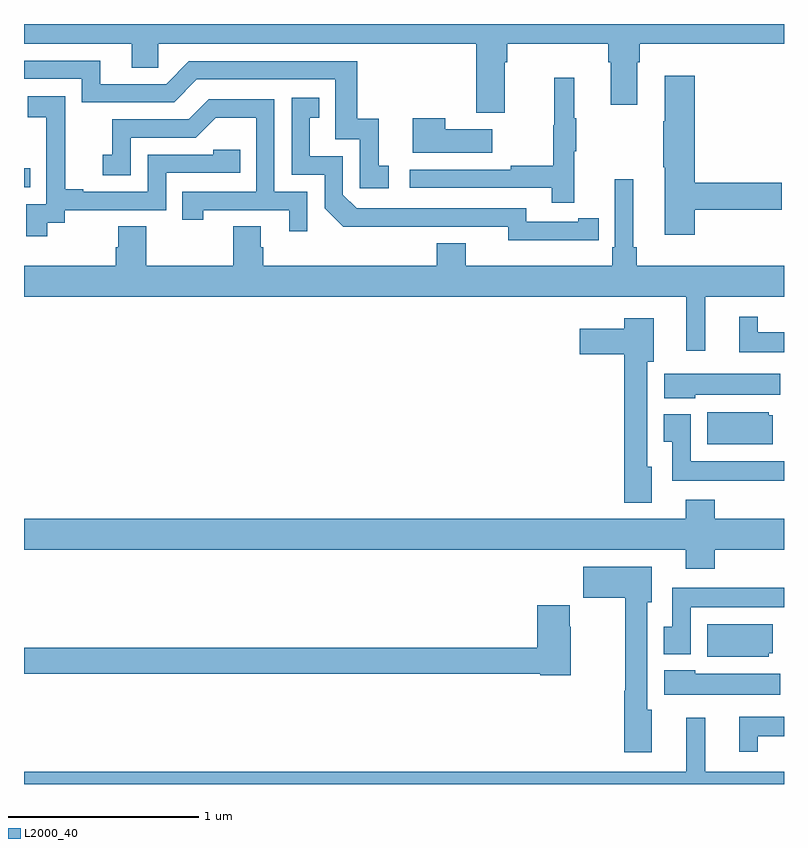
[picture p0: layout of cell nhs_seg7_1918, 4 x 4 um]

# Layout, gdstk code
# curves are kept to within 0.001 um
import gdstk
lib = gdstk.Library(unit=1e-6, precision=1e-09)
def R(c, l, rs):  # rectangles x0, y0, x1, y1
    for r in rs: c.add(gdstk.rectangle(r[:2], r[2:], *l))
def P(c, l, *ps):  # polygons
    for p in ps: c.add(gdstk.Polygon(p, *l))
L2000_40 = (2000, 40)

nhs_seg7_1918 = lib.new_cell('nhs_seg7_1918')
R(nhs_seg7_1918, L2000_40, [(239,1053.141,239.033,1053.242)])
P(nhs_seg7_1918, L2000_40, [(239,1053.896),(239.567,1053.896),(239.567,1053.769),(239.706,1053.769),(239.706,1053.896),(241.379,1053.896),(241.379,1053.534),(241.531,1053.534),(241.531,1053.8),(241.544,1053.8),(241.544,1053.896),(242.075,1053.896),(242.075,1053.8),(242.087,1053.8),(242.087,1053.576),(242.227,1053.576),(242.227,1053.8),(242.24,1053.8),(242.24,1053.896),(243,1053.896),(243,1054),(239,1054)],
  [(240.919,1053.255),(240.866,1053.255),(240.866,1053.502),(240.755,1053.502),(240.755,1053.804),(239.868,1053.804),(239.748,1053.684),(239.401,1053.684),(239.401,1053.807),(239,1053.807),(239,1053.711),(239.304,1053.711),(239.304,1053.588),(239.79,1053.588),(239.91,1053.708),(240.639,1053.708),(240.639,1053.393),(240.768,1053.393),(240.768,1053.135),(240.919,1053.135)],
  [(242.531,1053.022),(242.989,1053.022),(242.989,1053.164),(242.531,1053.164),(242.531,1053.727),(242.372,1053.727),(242.372,1053.488),(242.365,1053.488),(242.365,1053.247),(242.372,1053.247),(242.372,1052.892),(242.531,1052.892)],
  [(241.895,1053.331),(241.906,1053.331),(241.906,1053.505),(241.895,1053.505),(241.895,1053.718),(241.792,1053.718),(241.792,1053.468),(241.785,1053.468),(241.785,1053.254),(241.561,1053.254),(241.561,1053.234),(241.029,1053.234),(241.029,1053.138),(241.777,1053.138),(241.777,1053.06),(241.895,1053.06)],
  [(239.122,1052.953),(239.214,1052.953),(239.214,1053.021),(239.748,1053.021),(239.748,1053.216),(240.137,1053.216),(240.137,1053.339),(239.997,1053.339),(239.997,1053.312),(239.652,1053.312),(239.652,1053.117),(239.311,1053.117),(239.311,1053.13),(239.216,1053.13),(239.216,1053.413),(239.217,1053.413),(239.217,1053.619),(239.019,1053.619),(239.019,1053.509),(239.117,1053.509),(239.117,1053.281),(239.118,1053.281),(239.118,1053.051),(239.013,1053.051),(239.013,1052.883),(239.122,1052.883)],
  [(241.916,1052.862),(242.024,1052.862),(242.024,1052.978),(241.916,1052.978),(241.916,1052.958),(241.644,1052.958),(241.644,1053.03),(240.75,1053.03),(240.678,1053.102),(240.678,1053.303),(240.505,1053.303),(240.505,1053.507),(240.554,1053.507),(240.554,1053.613),(240.408,1053.613),(240.408,1053.207),(240.582,1053.207),(240.582,1053.03),(240.68,1052.933),(241.548,1052.934),(241.548,1052.861)],
  [(240.492,1053.117),(240.318,1053.117),(240.318,1053.603),(239.972,1053.603),(239.867,1053.498),(239.464,1053.498),(239.464,1053.313),(239.415,1053.313),(239.415,1053.204),(239.562,1053.204),(239.562,1053.402),(239.904,1053.402),(240.008,1053.506),(240.222,1053.506),(240.222,1053.117),(239.833,1053.117),(239.833,1052.97),(239.944,1052.97),(239.944,1053.021),(240.395,1053.021),(240.395,1052.91),(240.492,1052.91)],
  [(241.465,1053.445),(241.217,1053.445),(241.217,1053.505),(241.046,1053.505),(241.046,1053.323),(241.465,1053.323)],
  [(242.585,1052.564),(243,1052.564),(243,1052.728),(242.225,1052.728),(242.225,1052.824),(242.206,1052.824),(242.206,1053.184),(242.109,1053.184),(242.109,1052.824),(242.096,1052.824),(242.096,1052.728),(241.324,1052.728),(241.324,1052.845),(241.172,1052.845),(241.172,1052.728),(240.26,1052.728),(240.26,1052.826),(240.247,1052.826),(240.247,1052.936),(240.1,1052.936),(240.1,1052.728),(239.643,1052.728),(239.643,1052.936),(239.495,1052.936),(239.495,1052.826),(239.483,1052.826),(239.483,1052.728),(239,1052.728),(239,1052.564),(242.486,1052.564),(242.486,1052.28),(242.585,1052.28)],
  [(243,1052.377),(242.863,1052.377),(242.863,1052.458),(242.765,1052.458),(242.765,1052.273),(243,1052.273)],
  [(242.305,1051.671),(242.281,1051.671),(242.281,1052.222),(242.314,1052.222),(242.314,1052.452),(242.159,1052.452),(242.159,1052.395),(241.926,1052.395),(241.926,1052.261),(242.159,1052.261),(242.159,1051.481),(242.305,1051.481)],
  [(242.532,1052.048),(242.98,1052.048),(242.98,1052.158),(242.37,1052.158),(242.37,1052.03),(242.532,1052.03)],
  [(242.941,1051.941),(242.919,1051.941),(242.919,1051.957),(242.597,1051.957),(242.597,1051.787),(242.941,1051.787)],
  [(243,1051.699),(242.508,1051.699),(242.508,1051.945),(242.366,1051.945),(242.366,1051.801),(242.411,1051.801),(242.411,1051.595),(243,1051.595)],
  [(242.636,1051.232),(243,1051.232),(243,1051.396),(242.636,1051.396),(242.636,1051.495),(242.483,1051.495),(242.483,1051.396),(239,1051.396),(239,1051.232),(242.483,1051.232),(242.483,1051.133),(242.636,1051.133)],
  [(242.305,1050.39),(242.281,1050.39),(242.281,1050.957),(242.305,1050.957),(242.305,1051.144),(241.944,1051.144),(241.944,1050.979),(242.164,1050.979),(242.164,1050.49),(242.159,1050.49),(242.159,1050.168),(242.305,1050.168)],
  [(242.508,1050.929),(243,1050.929),(243,1051.033),(242.411,1051.033),(242.411,1050.828),(242.366,1050.828),(242.366,1050.684),(242.508,1050.684)],
  [(241.878,1050.827),(241.873,1050.827),(241.873,1050.94),(241.7,1050.94),(241.7,1050.716),(239,1050.716),(239,1050.58),(241.716,1050.58),(241.716,1050.572),(241.878,1050.572)],
  [(242.919,1050.687),(242.941,1050.687),(242.941,1050.841),(242.597,1050.841),(242.597,1050.671),(242.919,1050.671)],
  [(242.98,1050.58),(242.532,1050.58),(242.532,1050.598),(242.37,1050.598),(242.37,1050.47),(242.98,1050.47)],
  [(242.863,1050.251),(243,1050.251),(243,1050.355),(242.765,1050.355),(242.765,1050.171),(242.863,1050.171)],
  [(243,1050.064),(242.585,1050.064),(242.585,1050.349),(242.486,1050.349),(242.486,1050.064),(239,1050.064),(239,1050),(243,1050)])

lib.write_gds('nhs_seg7_1918.gds')
